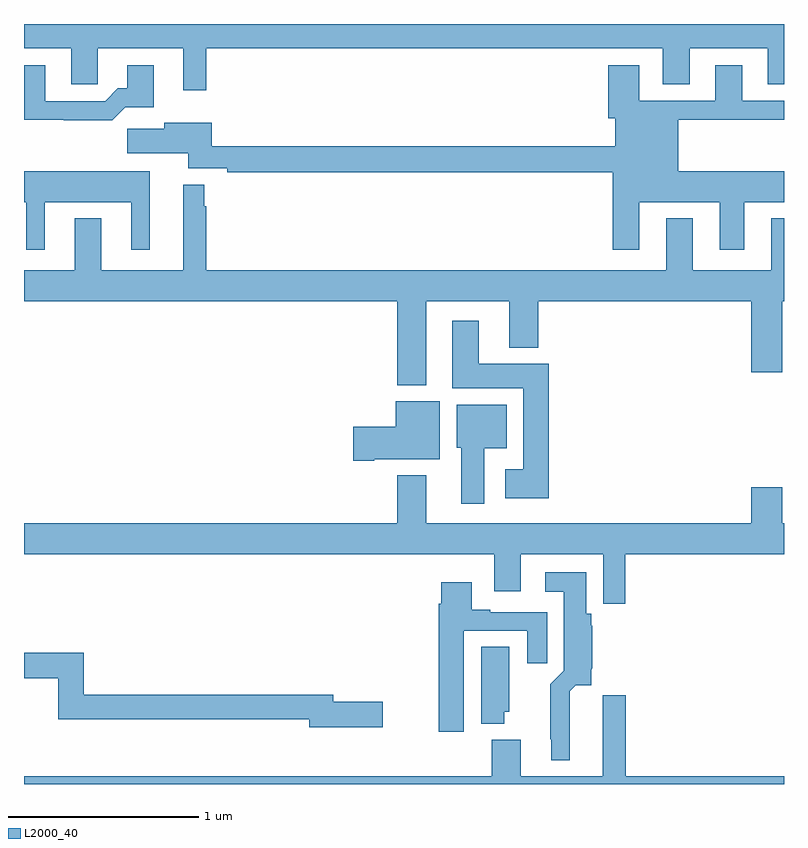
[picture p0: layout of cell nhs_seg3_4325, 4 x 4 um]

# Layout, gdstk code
import gdstk
lib = gdstk.Library(unit=1e-6, precision=1e-09)
def P(c, l, *ps):  # polygons
    for p in ps: c.add(gdstk.Polygon(p, *l))
L2000_40 = (2000, 40)

nhs_seg3_4325 = lib.new_cell('nhs_seg3_4325')
P(nhs_seg3_4325, L2000_40, [(341.959,678.272),(344.363,678.272),(344.363,678.082),(344.503,678.082),(344.503,678.272),(344.915,678.272),(344.915,678.082),(345,678.082),(345,678.4),(341,678.4),(341,678.272),(341.249,678.272),(341.249,678.082),(341.388,678.082),(341.388,678.272),(341.837,678.272),(341.837,678.051),(341.959,678.051)],
  [(341.534,677.963),(341.683,677.963),(341.683,678.184),(341.543,678.184),(341.543,678.061),(341.494,678.061),(341.427,677.994),(341.113,677.994),(341.113,678.184),(341,678.184),(341,677.896),(341.209,677.896),(341.209,677.894),(341.465,677.894)],
  [(344.239,677.462),(344.663,677.462),(344.663,677.211),(344.791,677.211),(344.791,677.462),(345,677.462),(345,677.626),(344.443,677.626),(344.443,677.896),(345,677.896),(345,677.997),(344.779,677.997),(344.779,678.184),(344.639,678.184),(344.639,677.997),(344.239,677.997),(344.239,678.184),(344.075,678.184),(344.075,677.904),(344.111,677.904),(344.111,677.756),(341.987,677.756),(341.987,677.881),(341.738,677.881),(341.738,677.849),(341.544,677.849),(341.544,677.72),(341.864,677.72),(341.864,677.64),(342.07,677.64),(342.07,677.62),(344.099,677.62),(344.099,677.211),(344.239,677.211)],
  [(341.11,677.462),(341.564,677.462),(341.564,677.211),(341.662,677.211),(341.662,677.626),(341,677.626),(341,677.462),(341.012,677.462),(341.012,677.211),(341.11,677.211)],
  [(343.117,676.94),(343.553,676.94),(343.553,676.697),(343.706,676.697),(343.706,676.94),(344.828,676.94),(344.828,676.566),(344.992,676.566),(344.992,676.94),(345,676.94),(345,677.377),(344.933,677.377),(344.933,677.104),(344.521,677.104),(344.521,677.377),(344.381,677.377),(344.381,677.104),(341.959,677.104),(341.959,677.441),(341.948,677.441),(341.948,677.554),(341.837,677.554),(341.837,677.104),(341.407,677.104),(341.407,677.377),(341.267,677.377),(341.267,677.104),(341,677.104),(341,676.94),(342.965,676.94),(342.965,676.499),(343.117,676.499)],
  [(343.763,676.612),(343.393,676.612),(343.393,676.837),(343.253,676.837),(343.253,676.484),(343.628,676.484),(343.628,676.057),(343.533,676.057),(343.533,675.905),(343.763,675.905)],
  [(342.844,676.109),(343.189,676.109),(343.189,676.414),(342.956,676.414),(342.956,676.28),(342.732,676.28),(342.732,676.102),(342.844,676.102)],
  [(343.423,676.166),(343.54,676.166),(343.54,676.396),(343.277,676.396),(343.277,676.17),(343.301,676.17),(343.301,675.876),(343.423,675.876)],
  [(344.165,675.608),(345,675.608),(345,675.772),(344.992,675.772),(344.992,675.961),(344.828,675.961),(344.828,675.772),(343.117,675.772),(343.117,676.024),(342.965,676.024),(342.965,675.772),(341,675.772),(341,675.608),(343.475,675.608),(343.475,675.414),(343.615,675.414),(343.615,675.608),(344.049,675.608),(344.049,675.348),(344.165,675.348)],
  [(343.873,674.888),(343.905,674.921),(343.985,674.921),(343.985,675.002),(343.991,675.008),(343.991,675.234),(343.985,675.234),(343.985,675.297),(343.96,675.297),(343.96,675.514),(343.743,675.514),(343.743,675.413),(343.841,675.413),(343.841,674.996),(343.771,674.926),(343.771,674.635),(343.775,674.635),(343.775,674.525),(343.873,674.525)],
  [(343.315,675.207),(343.649,675.207),(343.649,675.036),(343.753,675.036),(343.753,675.303),(343.453,675.303),(343.453,675.316),(343.357,675.316),(343.357,675.463),(343.196,675.463),(343.196,675.35),(343.184,675.35),(343.184,674.676),(343.315,674.676)],
  [(343.528,674.781),(343.555,674.781),(343.555,675.122),(343.406,675.122),(343.406,674.717),(343.528,674.717)],
  [(342.889,674.834),(342.628,674.834),(342.628,674.87),(341.315,674.87),(341.315,675.092),(341,675.092),(341,674.956),(341.179,674.956),(341.179,674.742),(342.5,674.742),(342.5,674.699),(342.889,674.699)],
  [(345,674.44),(344.168,674.44),(344.168,674.866),(344.045,674.866),(344.045,674.44),(343.615,674.44),(343.615,674.632),(343.463,674.632),(343.463,674.44),(341,674.44),(341,674.4),(345,674.4)])

lib.write_gds('nhs_seg3_4325.gds')
